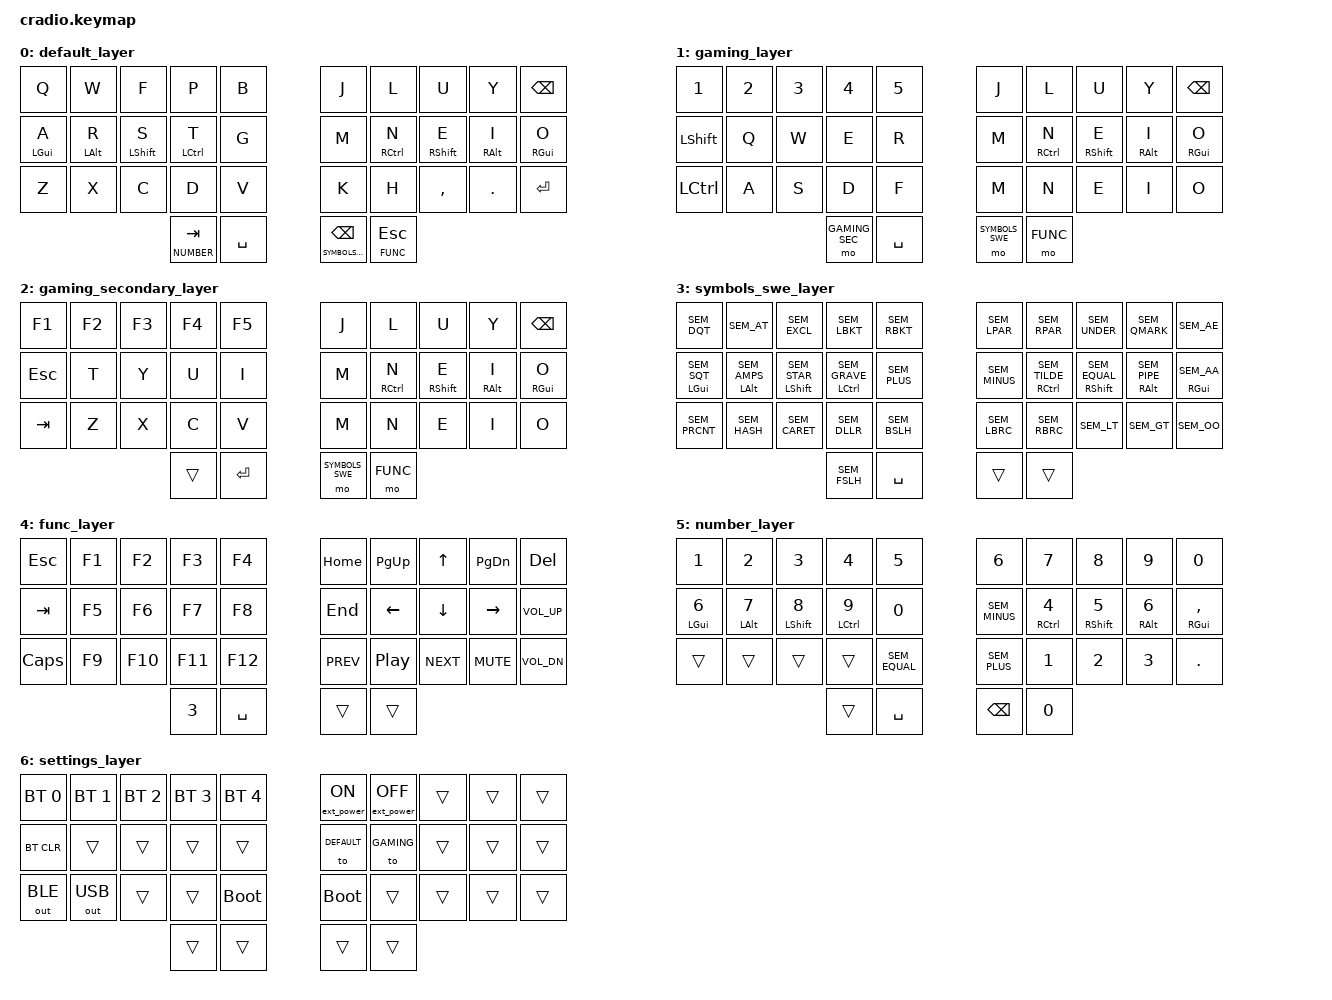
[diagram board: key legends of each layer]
/*
 * Copyright (c) 2020 duckyb
 *
 * SPDX-License-Identifier: MIT
 */

#include <behaviors.dtsi>
#include <dt-bindings/zmk/keys.h>
#include <dt-bindings/zmk/bt.h>
#include <dt-bindings/zmk/outputs.h>
#include <dt-bindings/zmk/ext_power.h>
#include "swe_keys_default.h"
#include "swe_keys_mac.h"

#define DEFAULT     0
#define GAMING      1
#define GAMING_SEC  2
#define SYMBOLS_SWE 3
#define FUNC        4
#define NUMBER      5
#define SETTINGS    6

/ {
    behaviors {
        hm: homerow_mods {
            compatible = "zmk,behavior-hold-tap";
            label = "HOMEROW_MODS";
            #binding-cells = <2>;
            tapping-term-ms = <200>;
            quick-tap-ms = <0>;
            flavor = "tap-preferred";
            bindings = <&kp>, <&kp>;
        };
        hs: homerow_mods_slow {
            compatible = "zmk,behavior-hold-tap";
            label = "HOMEROW_MODS_SLOW";
            #binding-cells = <2>;
            tapping-term-ms = <300>;
            quick-tap-ms = <0>;
            flavor = "tap-preferred";
            bindings = <&kp>, <&kp>;
        };
    };
    cond_layers {
        compatible = "zmk,conditional-layers";
        // Define SETTINGS layer as tri-state
        func_tristate {
            if-layers = <SYMBOLS_SWE FUNC>;
            then-layer = <SETTINGS>;
        };
    };

/*           34 Keys
╭──────────────╮ ╭──────────────╮
│ 0  1  2  3  4│ │ 5  6  7  8  9│
│10 11 12 13 14│ │15 16 17 18 19│
│20 21 22 23 24│ │25 26 27 28 29│
╰────────╮30 31│ │32 33╭────────╯
         ╰─────╯ ╰─────╯       */
/*    combos {
        compatible = "zmk,combos";

        combo_esc {
            timeout-ms = <50>;
            key-positions = <0 1>;
            bindings = <&kp ESC>;
        };
        combo_tab {
            timeout-ms = <50>;
            key-positions = <10 11>;
            bindings = <&kp TAB>;
        };
        combo_ralt {
            timeout-ms = <50>;
            key-positions = <17 16>;
            bindings = <&kp RALT>;
        };
        combo_lalt {
            timeout-ms = <50>;
            key-positions = <11 12>;
            bindings = <&kp LALT>;
        };
        combo_lgui {
            timeout-ms = <50>;
            key-positions = <12 13>;
            bindings = <&kp LGUI>;
        };
        combo_rgui {
            timeout-ms = <50>;
            key-positions = <17 18>;
            bindings = <&kp RGUI>;
        };
    }; */

    keymap {
        compatible = "zmk,keymap";

        default_layer {
            bindings = <
            &kp Q       &kp W       &kp F         &kp P           &kp B       &kp J                 &kp L         &kp U         &kp Y       &kp BSPC
            &hm LGUI A  &hm LALT R  &hm LSHIFT S  &hm LCTRL T     &kp G       &kp M                 &hm RCTRL N   &hm RSHIFT E  &hm RALT I  &hm RGUI O
            &kp Z       &kp X       &kp C         &kp D           &kp V       &kp K                 &kp H         &kp COMMA     &kp DOT     &kp ENTER
                                                  &lt NUMBER TAB  &kp SPACE   &lt SYMBOLS_SWE BSPC  &lt FUNC ESC
            >;
        };

        gaming_layer {
            bindings = <
            &kp N1          &kp N2  &kp N3  &kp N4     &kp N5     &kp J            &kp L        &kp U         &kp Y       &kp BSPC
            &kp LSHIFT      &kp Q   &kp W   &kp E      &kp R      &kp M            &hm RCTRL N  &hm RSHIFT E  &hm RALT I  &hm RGUI O
            &kp LCTRL       &kp A   &kp S   &kp D      &kp F      &kp M            &kp N        &kp E         &kp I       &kp O
                                            &mo GAMING_SEC &kp SPACE  &mo SYMBOLS_SWE  &mo FUNC
            >;
        };

        gaming_secondary_layer {
            bindings = <
            &kp F1   &kp F2  &kp F3  &kp F4     &kp F5     &kp J            &kp L        &kp U         &kp Y       &kp BSPC
            &kp ESC  &kp T   &kp Y   &kp U      &kp I      &kp M            &hm RCTRL N  &hm RSHIFT E  &hm RALT I  &hm RGUI O
            &kp TAB  &kp Z   &kp X   &kp C      &kp V      &kp M            &kp N        &kp E         &kp I       &kp O
                                     &trans     &kp ENTER  &mo SYMBOLS_SWE  &mo FUNC
            >;
        };

        symbols_swe_layer {
            bindings = <
            &kp SEM_DQT       &kp SEM_AT         &kp SEM_EXCL         &kp SEM_LBKT         &kp SEM_RBKT   &kp SEM_LPAR   &kp SEM_RPAR         &kp SEM_UNDER         &kp SEM_QMARK      &kp SEM_AE
            &hm LGUI SEM_SQT  &hm LALT SEM_AMPS  &hm LSHIFT SEM_STAR  &hm LCTRL SEM_GRAVE  &kp SEM_PLUS   &kp SEM_MINUS  &hm RCTRL SEM_TILDE  &hm RSHIFT SEM_EQUAL  &hm RALT SEM_PIPE  &hm RGUI SEM_AA
            &kp SEM_PRCNT     &kp SEM_HASH       &kp SEM_CARET        &kp SEM_DLLR         &kp SEM_BSLH   &kp SEM_LBRC   &kp SEM_RBRC         &kp SEM_LT            &kp SEM_GT         &kp SEM_OO
                                                                      &kp SEM_FSLH         &kp SPACE     &trans        &trans
            >;
        };

        func_layer {
            bindings = <
            &kp ESC   &kp F1  &kp F2   &kp F3   &kp F4     &kp HOME    &kp PG_UP  &kp UP      &kp PG_DN   &kp DEL
            &kp TAB   &kp F5  &kp F6   &kp F7   &kp F8     &kp END     &kp LEFT   &kp DOWN    &kp RIGHT   &kp C_VOL_UP
            &kp CAPS  &kp F9  &kp F10  &kp F11  &kp F12    &kp C_PREV  &kp C_PP   &kp C_NEXT  &kp C_MUTE  &kp C_VOL_DN
                                       &kp N3   &kp SPACE  &trans      &trans
            >;
        };

        number_layer {
            bindings = <
            &kp N1       &kp N2      &kp N3         &kp N4        &kp N5        &kp N6        &kp N7        &kp N8         &kp N9       &kp N0
            &hm LGUI  N6 &hm LALT N7 &hm LSHIFT N8  &hm LCTRL N9  &kp N0        &kp SEM_MINUS  &hm RCTRL N4  &hm RSHIFT N5  &hm RALT N6  &hm RGUI COMMA
            &trans       &trans      &trans         &trans        &kp SEM_EQUAL  &kp SEM_PLUS   &kp N1        &kp N2         &kp N3       &kp DOT
                                                    &trans        &kp SPACE     &kp BSPC      &kp N0
            >;
        };

        settings_layer {
            bindings = <
            &bt BT_SEL 0  &bt BT_SEL 1  &bt BT_SEL 2  &bt BT_SEL 3  &bt BT_SEL 4   &ext_power EP_ON  &ext_power EP_OFF  &trans      &trans  &trans
            &bt BT_CLR    &trans        &trans        &trans        &trans         &to DEFAULT       &to GAMING         &trans      &trans  &trans
            &out OUT_BLE  &out OUT_USB  &trans        &trans        &bootloader    &bootloader       &trans             &trans      &trans  &trans
                                                      &trans        &trans         &trans            &trans
            >;
        };
    };
};


